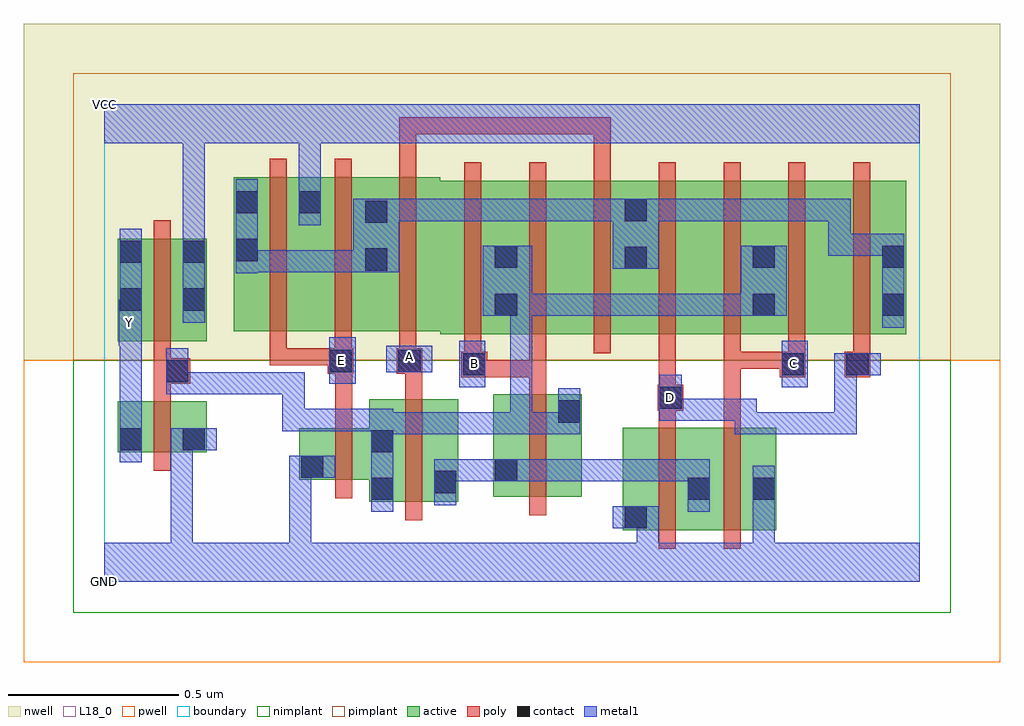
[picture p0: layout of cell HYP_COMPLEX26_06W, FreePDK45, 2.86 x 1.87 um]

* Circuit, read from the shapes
.subckt HYP_COMPLEX26_06W A B C D E GND VCC Y
M1 GND n1 Y VSUBS nfet w=0.15u l=0.05u
M2 n1 E GND VSUBS nfet w=0.15u l=0.05u
M3 n2 A n1 VSUBS nfet w=0.3u l=0.05u
M4 n1 B n2 VSUBS nfet w=0.3u l=0.05u
M5 n2 D GND VSUBS nfet w=0.3u l=0.05u
M6 GND C n2 VSUBS nfet w=0.3u l=0.05u
M7 VCC n1 Y n3 pfet w=0.3u l=0.05u
M8 VCC E n4 n3 pfet w=0.45u l=0.05u m=2
M9 n5 A n4 n3 pfet w=0.45u l=0.05u
M10 n1 B n5 n3 pfet w=0.45u l=0.05u
M11 n6 B n1 n3 pfet w=0.45u l=0.05u
M12 n4 A n6 n3 pfet w=0.45u l=0.05u
M13 n7 D n4 n3 pfet w=0.45u l=0.05u
M14 n1 C n7 n3 pfet w=0.45u l=0.05u
M15 n8 C n1 n3 pfet w=0.45u l=0.05u
M16 n4 D n8 n3 pfet w=0.45u l=0.05u
.ends

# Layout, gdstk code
import gdstk
lib = gdstk.Library(unit=1e-6, precision=1e-09)
def R(c, l, rs):  # rectangles x0, y0, x1, y1
    for r in rs: c.add(gdstk.rectangle(r[:2], r[2:], *l))
def A(c, l, x, y, w, h, nx, ny, dx, dy):  # array of equal rectangles
    R(c, l, [(x+i*dx, y+j*dy, x+i*dx+w, y+j*dy+h) for i in range(nx) for j in range(ny)])
active = (1, 0)
pwell = (2, 0)
nwell = (3, 0)
nimplant = (4, 0)
pimplant = (5, 0)
poly = (9, 0)
contact = (10, 0)
metal1 = (11, 0)
L18_0 = (18, 0)
boundary = (235, 0)

hyp_complex26_06w = lib.new_cell('HYP_COMPLEX26_06W')
R(hyp_complex26_06w, active, [(1.52,0.152,1.595,0.452), (1.52,0.152,1.78,0.452), (1.705,0.152,1.97,0.452), (1.895,0.152,1.97,0.452), (0.777,0.235,1.037,0.535), (0.777,0.235,0.852,0.45), (1.705,0.235,1.78,0.452), (1.14,0.25,1.215,0.55), (1.14,0.25,1.4,0.55), (0.962,0.255,1.037,0.535), (1.325,0.295,1.4,0.55), (0.572,0.3,0.852,0.45), (0.572,0.3,0.647,0.45), (0.04,0.38,0.115,0.53), (0.04,0.38,0.3,0.53), (0.225,0.38,0.3,0.53), (0.04,0.705,0.115,1.005), (0.04,0.705,0.3,1.005), (0.225,0.705,0.3,1.005), (0.985,0.725,1.215,1.175), (1.14,0.725,1.365,1.175), (1.365,0.725,1.595,1.175), (1.52,0.725,1.745,1.175), (1.745,0.725,1.97,1.175), (1.895,0.725,2.125,1.175), (1.895,0.725,1.97,1.07), (2.125,0.725,2.35,1.175), (2.275,0.725,2.35,1.155), (1.14,0.732,1.215,1.07), (0.38,0.735,0.64,1.185), (0.38,0.735,0.455,1.155), (0.565,0.735,0.835,1.185), (0.76,0.735,0.985,1.185), (0.565,0.812,0.64,1.155), (0.76,0.812,0.835,1.155), (1.52,0.812,1.595,1.155)])
R(hyp_complex26_06w, pwell, [(-0.235,-0.235,2.625,0.65)])
R(hyp_complex26_06w, nwell, [(-0.235,0.65,2.625,1.635)])
R(hyp_complex26_06w, nimplant, [(-0.09,-0.09,2.48,0.65)])
R(hyp_complex26_06w, pimplant, [(-0.09,0.65,2.48,1.49)])
A(hyp_complex26_06w, poly, 1.815, 0.625, 0.05, 0.095, 3, 1, 0.19, 0)
A(hyp_complex26_06w, poly, 0.485, 0.635, 0.05, 0.095, 3, 1, 0.19, 0)
A(hyp_complex26_06w, poly, 1.055, 0.67, 0.05, 0.56, 7, 1, 0.19, 0)
A(hyp_complex26_06w, poly, 0.485, 0.68, 0.05, 0.56, 3, 1, 0.19, 0)
R(hyp_complex26_06w, poly, [(1.625,0.097,1.675,0.507), (1.815,0.097,1.865,0.507), (0.882,0.18,0.932,0.59), (1.245,0.195,1.295,0.605), (0.677,0.245,0.727,0.505), (0.145,0.325,0.195,0.585), (0.677,0.455,0.727,0.66), (1.625,0.457,1.675,0.552), (1.815,0.457,1.865,0.675), (1.622,0.502,1.697,0.577), (1.625,0.527,1.675,0.72), (0.145,0.535,0.195,0.63), (0.882,0.54,0.932,0.66), (1.245,0.555,1.295,0.65), (0.145,0.58,0.252,0.655), (1.047,0.6,1.122,0.675), (1.072,0.6,1.122,0.65), (1.072,0.6,1.122,0.65), (1.072,0.6,1.295,0.65), (1.245,0.6,1.295,0.65), (1.245,0.6,1.295,0.72), (1.98,0.6,2.055,0.675), (2.17,0.6,2.245,0.675), (0.145,0.605,0.195,0.7), (0.655,0.61,0.73,0.685), (0.857,0.61,0.932,0.685), (1.055,0.625,1.105,0.72), (1.815,0.625,1.865,0.675), (1.815,0.625,2.03,0.675), (1.98,0.625,2.03,0.675), (1.98,0.625,2.03,0.675), (0.485,0.635,0.535,0.685), (0.485,0.635,0.622,0.685), (0.572,0.635,0.622,0.685), (0.572,0.635,0.705,0.685), (0.145,0.65,0.195,1.06), (1.435,1.18,1.485,1.362), (0.865,1.19,0.915,1.362), (0.865,1.312,0.915,1.362), (0.865,1.312,0.915,1.362), (0.865,1.312,0.915,1.362), (0.865,1.312,1.162,1.362), (1.112,1.312,1.162,1.362), (1.112,1.312,1.352,1.362), (1.302,1.312,1.352,1.362), (1.302,1.312,1.352,1.362), (1.302,1.312,1.352,1.362), (1.302,1.312,1.485,1.362), (1.435,1.312,1.485,1.362), (1.435,1.312,1.485,1.362), (1.435,1.312,1.485,1.362)])
R(hyp_complex26_06w, contact, [(1.525,0.157,1.59,0.222), (0.782,0.24,0.847,0.305), (1.71,0.24,1.775,0.305), (1.9,0.24,1.965,0.305), (0.967,0.26,1.032,0.325), (1.145,0.295,1.21,0.36), (0.577,0.305,0.642,0.37), (0.782,0.38,0.847,0.445), (0.045,0.385,0.11,0.45), (0.23,0.385,0.295,0.45), (1.33,0.467,1.395,0.532), (1.627,0.507,1.692,0.572), (0.182,0.585,0.247,0.65), (1.052,0.605,1.117,0.67), (1.985,0.605,2.05,0.67), (2.175,0.605,2.24,0.67), (0.66,0.615,0.725,0.68), (0.862,0.615,0.927,0.68), (1.145,0.78,1.21,0.845), (1.9,0.78,1.965,0.845), (2.28,0.78,2.345,0.845), (0.045,0.795,0.11,0.86), (0.23,0.795,0.295,0.86), (0.765,0.912,0.83,0.977), (1.525,0.917,1.59,0.982), (1.145,0.92,1.21,0.985), (1.9,0.92,1.965,0.985), (2.28,0.92,2.345,0.985), (0.045,0.935,0.11,1), (0.23,0.935,0.295,1), (0.385,0.94,0.45,1.005), (0.765,1.052,0.83,1.117), (1.525,1.057,1.59,1.122), (0.385,1.08,0.45,1.145), (0.57,1.08,0.635,1.145)])
R(hyp_complex26_06w, metal1, [(0,0,2.39,0.115), (0.195,0.05,0.26,0.115), (0.195,0.05,0.26,0.115), (0.195,0.05,0.26,0.115), (0.195,0.05,0.26,0.115), (0.195,0.05,0.26,0.45), (0.542,0.05,0.607,0.115), (0.542,0.05,0.607,0.115), (0.542,0.05,0.607,0.115), (0.542,0.05,0.607,0.115), (0.542,0.05,0.607,0.115), (0.542,0.05,0.607,0.115), (0.542,0.05,0.607,0.37), (1.56,0.05,1.625,0.222), (1.9,0.05,1.965,0.27), (1.49,0.157,1.625,0.222), (1.56,0.157,1.625,0.222), (1.56,0.157,1.625,0.222), (1.56,0.157,1.625,0.222), (1.56,0.157,1.625,0.222), (0.782,0.205,0.847,0.507), (1.71,0.205,1.775,0.34), (1.9,0.205,1.965,0.27), (1.9,0.205,1.965,0.27), (1.9,0.205,1.965,0.27), (1.9,0.205,1.965,0.27), (1.9,0.205,1.965,0.34), (0.967,0.225,1.032,0.36), (1.71,0.275,1.775,0.34), (1.71,0.275,1.775,0.36), (0.967,0.295,1.032,0.36), (0.967,0.295,1.032,0.36), (0.967,0.295,1.175,0.36), (1.11,0.295,1.245,0.36), (1.18,0.295,1.392,0.36), (1.327,0.295,1.392,0.36), (1.327,0.295,1.392,0.36), (1.327,0.295,1.392,0.36), (1.327,0.295,1.555,0.36), (1.49,0.295,1.555,0.36), (1.49,0.295,1.555,0.36), (1.49,0.295,1.555,0.36), (1.49,0.295,1.555,0.36), (1.49,0.295,1.555,0.36), (1.49,0.295,1.775,0.36), (0.542,0.305,0.677,0.37), (0.045,0.35,0.11,0.485), (0.195,0.385,0.26,0.45), (0.195,0.385,0.26,0.45), (0.195,0.385,0.33,0.45), (0.045,0.42,0.11,0.757), (0.782,0.432,0.847,0.497), (0.782,0.432,0.847,0.497), (0.782,0.432,1.002,0.497), (0.937,0.432,1.002,0.497), (0.937,0.432,1.002,0.497), (0.937,0.432,1.002,0.497), (0.937,0.432,1.255,0.497), (1.19,0.432,1.255,0.497), (1.19,0.432,1.255,0.497), (1.19,0.432,1.255,0.497), (1.19,0.432,1.255,0.497), (1.19,0.432,1.255,0.497), (1.19,0.432,1.395,0.497), (1.19,0.432,1.255,0.845), (1.33,0.432,1.395,0.567), (1.847,0.432,1.912,0.497), (1.847,0.432,2.067,0.497), (1.847,0.432,1.912,0.537), (2.002,0.432,2.067,0.497), (2.002,0.432,2.205,0.497), (2.14,0.432,2.205,0.497), (2.14,0.432,2.205,0.67), (0.522,0.442,0.587,0.507), (0.522,0.442,0.587,0.507), (0.522,0.442,0.587,0.507), (0.522,0.442,0.847,0.507), (0.522,0.442,0.587,0.615), (1.627,0.472,1.692,0.607), (1.627,0.472,1.775,0.537), (1.71,0.472,1.775,0.537), (1.71,0.472,1.912,0.537), (1.847,0.472,1.912,0.537), (1.847,0.472,1.912,0.537), (1.847,0.472,1.912,0.537), (0.182,0.55,0.247,0.615), (0.182,0.55,0.247,0.615), (0.182,0.55,0.247,0.685), (0.182,0.55,0.45,0.615), (0.385,0.55,0.45,0.615), (0.385,0.55,0.45,0.615), (0.385,0.55,0.45,0.615), (0.385,0.55,0.587,0.615), (0.522,0.55,0.587,0.615), (1.04,0.57,1.117,0.707), (1.985,0.57,2.062,0.707), (0.66,0.58,0.737,0.717), (2.14,0.605,2.205,0.67), (2.14,0.605,2.205,0.67), (2.14,0.605,2.275,0.67), (0.827,0.615,0.962,0.692), (0.042,0.692,0.11,0.827), (2.28,0.745,2.345,1.02), (0.045,0.76,0.11,0.825), (0.045,0.76,0.11,1.035), (0.23,0.76,0.295,1.035), (1.11,0.78,1.255,0.985), (1.19,0.78,1.255,0.845), (1.19,0.78,1.255,0.845), (1.19,0.78,1.392,0.845), (1.327,0.78,1.392,0.845), (1.327,0.78,1.53,0.845), (1.465,0.78,1.53,0.845), (1.465,0.78,1.53,0.845), (1.465,0.78,1.53,0.845), (1.465,0.78,1.775,0.845), (1.71,0.78,1.775,0.845), (1.71,0.78,1.775,0.845), (1.71,0.78,1.775,0.845), (1.71,0.78,1.912,0.845), (1.847,0.78,1.912,0.845), (1.847,0.78,1.93,0.845), (1.865,0.78,2,0.985), (0.385,0.905,0.45,1.18), (0.385,0.907,0.45,0.972), (0.385,0.907,0.45,0.972), (0.385,0.907,0.657,0.972), (0.592,0.907,0.657,0.972), (0.592,0.907,0.657,0.972), (0.592,0.907,0.657,0.972), (0.592,0.907,0.795,0.972), (0.73,0.907,0.865,1.122), (1.49,0.917,1.625,1.122), (2.122,0.955,2.187,1.02), (2.122,0.955,2.345,1.02), (2.122,0.955,2.187,1.122), (2.28,0.955,2.345,1.02), (2.28,0.955,2.345,1.02), (0.23,0.97,0.295,1.225), (0.57,1.045,0.635,1.18), (0.797,1.057,0.862,1.122), (0.797,1.057,0.865,1.122), (0.8,1.057,1.037,1.122), (0.972,1.057,1.037,1.122), (0.972,1.057,1.037,1.122), (0.972,1.057,1.037,1.122), (0.972,1.057,1.037,1.122), (0.972,1.057,1.037,1.122), (0.972,1.057,1.255,1.122), (1.19,1.057,1.255,1.122), (1.19,1.057,1.392,1.122), (1.327,1.057,1.392,1.122), (1.327,1.057,1.392,1.122), (1.327,1.057,1.392,1.122), (1.327,1.057,1.555,1.122), (1.49,1.057,1.555,1.122), (1.49,1.057,1.555,1.122), (1.56,1.057,1.775,1.122), (1.71,1.057,1.775,1.122), (1.71,1.057,1.775,1.122), (1.71,1.057,1.775,1.122), (1.71,1.057,1.912,1.122), (1.847,1.057,1.912,1.122), (1.847,1.057,2.05,1.122), (1.985,1.057,2.05,1.122), (1.985,1.057,2.05,1.122), (1.985,1.057,2.05,1.122), (1.985,1.057,2.187,1.122), (2.122,1.057,2.187,1.122), (0.57,1.115,0.635,1.18), (0.57,1.115,0.635,1.18), (0.57,1.115,0.635,1.35), (0.23,1.16,0.295,1.225), (0.23,1.16,0.295,1.35), (0,1.285,2.39,1.4), (0.23,1.285,0.295,1.35), (0.23,1.285,0.295,1.35)])
R(hyp_complex26_06w, L18_0, [(0,0,2.39,0.115), (0.195,0.05,0.26,0.115), (0.195,0.05,0.26,0.115), (0.195,0.05,0.26,0.115), (0.195,0.05,0.26,0.115), (0.195,0.05,0.26,0.45), (0.542,0.05,0.607,0.115), (0.542,0.05,0.607,0.115), (0.542,0.05,0.607,0.115), (0.542,0.05,0.607,0.115), (0.542,0.05,0.607,0.115), (0.542,0.05,0.607,0.115), (0.542,0.05,0.607,0.37), (1.56,0.05,1.625,0.222), (1.9,0.05,1.965,0.27), (1.49,0.157,1.625,0.222), (1.56,0.157,1.625,0.222), (1.56,0.157,1.625,0.222), (1.56,0.157,1.625,0.222), (1.56,0.157,1.625,0.222), (1.9,0.205,1.965,0.34), (1.9,0.205,1.965,0.27), (1.9,0.205,1.965,0.27), (1.9,0.205,1.965,0.27), (1.9,0.205,1.965,0.27), (0.542,0.305,0.677,0.37), (0.045,0.35,0.11,0.485), (0.195,0.385,0.26,0.45), (0.195,0.385,0.26,0.45), (0.195,0.385,0.33,0.45), (0.045,0.42,0.11,0.757), (1.847,0.432,1.912,0.497), (1.847,0.432,1.912,0.537), (1.847,0.432,2.067,0.497), (2.002,0.432,2.067,0.497), (2.002,0.432,2.205,0.497), (2.14,0.432,2.205,0.497), (2.14,0.432,2.205,0.67), (1.627,0.472,1.692,0.607), (1.627,0.472,1.775,0.537), (1.71,0.472,1.775,0.537), (1.71,0.472,1.912,0.537), (1.847,0.472,1.912,0.537), (1.847,0.472,1.912,0.537), (1.847,0.472,1.912,0.537), (1.627,0.507,1.692,0.572), (1.04,0.57,1.117,0.707), (1.985,0.57,2.062,0.707), (0.66,0.58,0.737,0.717), (2.14,0.605,2.205,0.67), (2.14,0.605,2.205,0.67), (2.14,0.605,2.275,0.67), (1.052,0.607,1.117,0.672), (1.987,0.607,2.052,0.672), (0.827,0.615,0.962,0.692), (0.662,0.617,0.727,0.682), (0.862,0.627,0.927,0.692), (0.042,0.692,0.11,0.827), (0.042,0.727,0.107,0.792), (0.045,0.76,0.11,1.035), (0.045,0.76,0.11,0.825), (0.23,0.76,0.295,1.035), (0.23,0.97,0.295,1.225), (0.57,1.045,0.635,1.18), (0.57,1.115,0.635,1.18), (0.57,1.115,0.635,1.18), (0.57,1.115,0.635,1.35), (0.23,1.16,0.295,1.225), (0.23,1.16,0.295,1.35), (0,1.285,2.39,1.4), (0.23,1.285,0.295,1.35), (0.23,1.285,0.295,1.35)])
R(hyp_complex26_06w, boundary, [(0,0,2.39,1.4)])
hyp_complex26_06w.add(gdstk.Label('A', (0.895,0.66), layer=11, texttype=0))
hyp_complex26_06w.add(gdstk.Label('B', (1.085,0.64), layer=11, texttype=0))
hyp_complex26_06w.add(gdstk.Label('C', (2.02,0.64), layer=11, texttype=0))
hyp_complex26_06w.add(gdstk.Label('D', (1.66,0.54), layer=11, texttype=0))
hyp_complex26_06w.add(gdstk.Label('E', (0.695,0.65), layer=11, texttype=0))
hyp_complex26_06w.add(gdstk.Label('Y', (0.075,0.76), layer=11, texttype=0))
hyp_complex26_06w.add(gdstk.Label('VCC', (0,1.4), layer=11, texttype=0))
hyp_complex26_06w.add(gdstk.Label('GND', (0,0), layer=11, texttype=0))

lib.write_gds('HYP_COMPLEX26_06W.gds')
